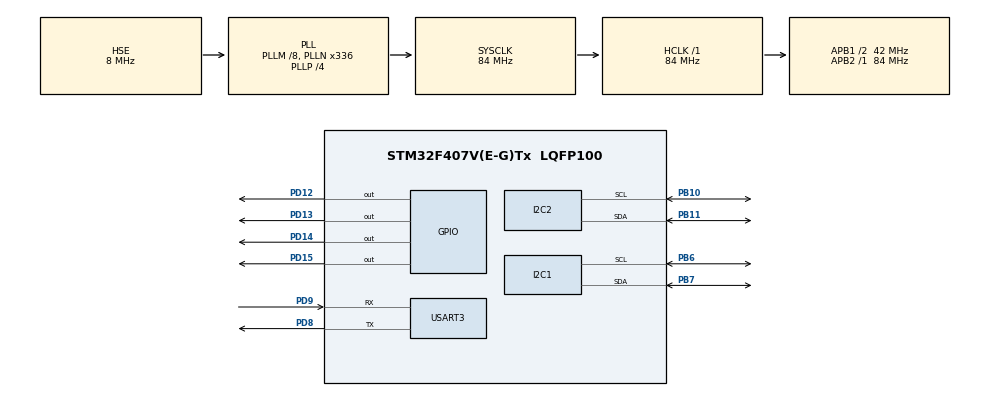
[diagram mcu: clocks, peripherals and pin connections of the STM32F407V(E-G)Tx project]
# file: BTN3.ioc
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Dma.I2C1_RX.3.Direction=DMA_PERIPH_TO_MEMORY
Dma.I2C1_RX.3.FIFOMode=DMA_FIFOMODE_DISABLE
Dma.I2C1_RX.3.Instance=DMA1_Stream0
Dma.I2C1_RX.3.MemDataAlignment=DMA_MDATAALIGN_BYTE
Dma.I2C1_RX.3.MemInc=DMA_MINC_ENABLE
Dma.I2C1_RX.3.Mode=DMA_NORMAL
Dma.I2C1_RX.3.PeriphDataAlignment=DMA_PDATAALIGN_BYTE
Dma.I2C1_RX.3.PeriphInc=DMA_PINC_DISABLE
Dma.I2C1_RX.3.Priority=DMA_PRIORITY_LOW
Dma.I2C1_TX.2.Direction=DMA_MEMORY_TO_PERIPH
Dma.I2C1_TX.2.FIFOMode=DMA_FIFOMODE_DISABLE
Dma.I2C1_TX.2.Instance=DMA1_Stream6
Dma.I2C1_TX.2.MemDataAlignment=DMA_MDATAALIGN_BYTE
Dma.I2C1_TX.2.MemInc=DMA_MINC_ENABLE
Dma.I2C1_TX.2.Mode=DMA_NORMAL
Dma.I2C1_TX.2.PeriphDataAlignment=DMA_PDATAALIGN_BYTE
Dma.I2C1_TX.2.PeriphInc=DMA_PINC_DISABLE
Dma.I2C1_TX.2.Priority=DMA_PRIORITY_LOW
Dma.I2C2_RX.5.Direction=DMA_PERIPH_TO_MEMORY
Dma.I2C2_RX.5.FIFOMode=DMA_FIFOMODE_DISABLE
Dma.I2C2_RX.5.Instance=DMA1_Stream2
Dma.I2C2_RX.5.MemDataAlignment=DMA_MDATAALIGN_BYTE
Dma.I2C2_RX.5.MemInc=DMA_MINC_ENABLE
Dma.I2C2_RX.5.Mode=DMA_NORMAL
Dma.I2C2_RX.5.PeriphDataAlignment=DMA_PDATAALIGN_BYTE
Dma.I2C2_RX.5.PeriphInc=DMA_PINC_DISABLE
Dma.I2C2_RX.5.Priority=DMA_PRIORITY_LOW
Dma.I2C2_TX.4.Direction=DMA_MEMORY_TO_PERIPH
Dma.I2C2_TX.4.FIFOMode=DMA_FIFOMODE_DISABLE
Dma.I2C2_TX.4.Instance=DMA1_Stream7
Dma.I2C2_TX.4.MemDataAlignment=DMA_MDATAALIGN_BYTE
Dma.I2C2_TX.4.MemInc=DMA_MINC_ENABLE
Dma.I2C2_TX.4.Mode=DMA_NORMAL
Dma.I2C2_TX.4.PeriphDataAlignment=DMA_PDATAALIGN_BYTE
Dma.I2C2_TX.4.PeriphInc=DMA_PINC_DISABLE
Dma.I2C2_TX.4.Priority=DMA_PRIORITY_LOW
Dma.Request0=USART3_TX
Dma.Request1=USART3_RX
Dma.Request2=I2C1_TX
Dma.Request3=I2C1_RX
Dma.Request4=I2C2_TX
Dma.Request5=I2C2_RX
Dma.USART3_RX.1.Direction=DMA_PERIPH_TO_MEMORY
Dma.USART3_RX.1.FIFOMode=DMA_FIFOMODE_DISABLE
Dma.USART3_RX.1.Instance=DMA1_Stream1
Dma.USART3_RX.1.MemDataAlignment=DMA_MDATAALIGN_BYTE
Dma.USART3_RX.1.MemInc=DMA_MINC_ENABLE
Dma.USART3_RX.1.Mode=DMA_NORMAL
Dma.USART3_RX.1.PeriphDataAlignment=DMA_PDATAALIGN_BYTE
Dma.USART3_RX.1.PeriphInc=DMA_PINC_DISABLE
Dma.USART3_RX.1.Priority=DMA_PRIORITY_LOW
Dma.USART3_TX.0.Direction=DMA_MEMORY_TO_PERIPH
Dma.USART3_TX.0.FIFOMode=DMA_FIFOMODE_DISABLE
Dma.USART3_TX.0.Instance=DMA1_Stream3
Dma.USART3_TX.0.MemDataAlignment=DMA_MDATAALIGN_BYTE
Dma.USART3_TX.0.MemInc=DMA_MINC_ENABLE
Dma.USART3_TX.0.Mode=DMA_NORMAL
Dma.USART3_TX.0.PeriphDataAlignment=DMA_PDATAALIGN_BYTE
Dma.USART3_TX.0.PeriphInc=DMA_PINC_DISABLE
Dma.USART3_TX.0.Priority=DMA_PRIORITY_LOW
I2C1.I2C_Mode=I2C_Fast
I2C2.I2C_Mode=I2C_Fast
Mcu.Family=STM32F4
Mcu.Name=STM32F407V(E-G)Tx
Mcu.Package=LQFP100
NVIC.DMA1_Stream0_IRQn=true\:0\:0\:false\:false\:true\:false\:true\:true
NVIC.DMA1_Stream1_IRQn=true\:0\:0\:true\:false\:true\:false\:true\:true
NVIC.DMA1_Stream2_IRQn=true\:0\:0\:false\:false\:true\:false\:true\:true
NVIC.DMA1_Stream3_IRQn=true\:0\:0\:true\:false\:true\:false\:true\:true
NVIC.DMA1_Stream6_IRQn=true\:0\:0\:false\:false\:true\:false\:true\:true
NVIC.DMA1_Stream7_IRQn=true\:0\:0\:false\:false\:true\:false\:true\:true
NVIC.I2C1_ER_IRQn=true\:0\:0\:false\:false\:true\:true\:true\:true
NVIC.I2C1_EV_IRQn=true\:0\:0\:false\:false\:true\:true\:true\:true
NVIC.I2C2_ER_IRQn=true\:0\:0\:false\:false\:true\:true\:true\:true
NVIC.I2C2_EV_IRQn=true\:0\:0\:false\:false\:true\:true\:true\:true
NVIC.PriorityGroup=NVIC_PRIORITYGROUP_4
NVIC.TIM2_IRQn=true\:0\:0\:false\:false\:true\:true\:true\:true
NVIC.USART3_IRQn=true\:0\:0\:false\:false\:true\:true\:true\:true
PA13.Mode=Serial_Wire
PA13.Signal=SYS_JTMS-SWDIO
PA14.Mode=Serial_Wire
PA14.Signal=SYS_JTCK-SWCLK
PB10.Mode=I2C
PB10.Signal=I2C2_SCL
PB11.Mode=I2C
PB11.Signal=I2C2_SDA
PB6.Mode=I2C
PB6.Signal=I2C1_SCL
PB7.Mode=I2C
PB7.Signal=I2C1_SDA
PD12.Signal=GPIO_Output
PD13.Signal=GPIO_Output
PD14.Signal=GPIO_Output
PD15.Signal=GPIO_Output
PD8.Mode=Asynchronous
PD8.Signal=USART3_TX
PD9.Mode=Asynchronous
PD9.Signal=USART3_RX
PH0-OSC_IN.Mode=HSE-External-Oscillator
PH0-OSC_IN.Signal=RCC_OSC_IN
PH1-OSC_OUT.Mode=HSE-External-Oscillator
PH1-OSC_OUT.Signal=RCC_OSC_OUT
ProjectManager.HeapSize=0x200
ProjectManager.StackSize=0x400
ProjectManager.TargetToolchain=STM32CubeIDE
RCC.48MHZClocksFreq_Value=84000000
RCC.AHBFreq_Value=84000000
RCC.APB1CLKDivider=RCC_HCLK_DIV2
RCC.APB1Freq_Value=42000000
RCC.APB1TimFreq_Value=84000000
RCC.APB2Freq_Value=84000000
RCC.APB2TimFreq_Value=84000000
RCC.CortexFreq_Value=84000000
RCC.HCLKFreq_Value=84000000
RCC.HSE_VALUE=8000000
RCC.HSI_VALUE=16000000
RCC.LSE_VALUE=32768
RCC.PLLM=8
RCC.PLLN=336
RCC.PLLP=RCC_PLLP_DIV4
RCC.PLLSourceVirtual=RCC_PLLSOURCE_HSE
RCC.SYSCLKFreq_VALUE=84000000
RCC.SYSCLKSource=RCC_SYSCLKSOURCE_PLLCLK
RCC.VCOOutputFreq_Value=336000000
TIM2.AutoReloadPreload=TIM_AUTORELOAD_PRELOAD_DISABLE
TIM2.Period=10000 - 1
TIM2.Prescaler=8400 - 1
USART3.VirtualMode=VM_ASYNC
VP_TIM2_VS_ClockSourceINT.Mode=Internal
board=custom

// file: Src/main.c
/* USER CODE BEGIN Header */
/**
 ******************************************************************************
 * @file           : main.c
 * @brief          : Main program body
 ******************************************************************************
 * @attention
 *
 * Copyright (c) 2023 STMicroelectronics.
 * All rights reserved.
 *
 * This software is licensed under terms that can be found in the LICENSE file
 * in the root directory of this software component.
 * If no LICENSE file comes with this software, it is provided AS-IS.
 *
 ******************************************************************************
 */
/* USER CODE END Header */
#include "main.h"

/* USER CODE BEGIN Includes */
#include "EEPROM.h"
#include "mpu6050.h"
#include "string.h"
#include <math.h>
/* USER CODE END Includes */

/* USER CODE BEGIN PTD */
MPU6050_t MPU6050;
/* USER CODE END PTD */

/* USER CODE BEGIN PD */
#define EEPROM_ADDR 0xA0
#define MPU6050_ADDR 0xD0
/* USER CODE END PD */

I2C_HandleTypeDef hi2c1;
I2C_HandleTypeDef hi2c2;
DMA_HandleTypeDef hdma_i2c1_tx;
DMA_HandleTypeDef hdma_i2c1_rx;
DMA_HandleTypeDef hdma_i2c2_tx;
DMA_HandleTypeDef hdma_i2c2_rx;

TIM_HandleTypeDef htim2;

UART_HandleTypeDef huart3;
DMA_HandleTypeDef hdma_usart3_tx;
DMA_HandleTypeDef hdma_usart3_rx;

void SystemClock_Config(void);
static void MX_GPIO_Init(void);
static void MX_DMA_Init(void);
static void MX_I2C1_Init(void);
static void MX_I2C2_Init(void);
static void MX_USART3_UART_Init(void);
static void MX_TIM2_Init(void);
/* USER CODE BEGIN PFP */
void MPU6050_Init();
void UintToStr3(uint16_t u, uint8_t *y);
void Cal_uart_size(uint8_t* As_data, uint16_t* Bi_data,uint8_t n);
void AsciiToBinary(uint8_t *Ascii, uint8_t *Binary);
/* USER CODE END PFP */

/* USER CODE BEGIN 0 */
//i2c
//uint8_t dataRead[100];
//uint8_t dataWrite[100] = {0x41, 0x30, 0x46,0x46, 00, 00,0xC0,84, 75};/
uint8_t tk = 0;
uint8_t i2c_write_flag = 0;
uint8_t i2c_read_flag = 0;
uint8_t i2c2_read_flag = 0;
//uart
uint8_t Rx_Data[100] = "";
uint8_t Tx_Data[100] = {'A','0','F','F', '0'};//A0 FF 46 00 XXXX
uint8_t uart_tx_flag = 0;
uint8_t uart_rx_flag = 0;
uint16_t Uart_Rx_Size = 0;
uint16_t page = 0;
uint8_t tim2_it_flag = 0;
char buffer[50];
//mpu6050
//double Ax;
//double Ay;
//double Az;
//double Gx;
//double Gy;
//double Gz;
double roll;
double pitch;

/* USER CODE END 0 */

int main(void)
{

  /* MCU Configuration--------------------------------------------------------*/

  /* Reset of all peripherals, Initializes the Flash interface and the Systick. */
  HAL_Init();

  /* Configure the system clock */
  SystemClock_Config();

  /* Initialize all configured peripherals */
  MX_GPIO_Init();
  MX_DMA_Init();
  MX_I2C1_Init();
  MX_I2C2_Init();
  MX_USART3_UART_Init();
  MX_TIM2_Init();
  /* USER CODE BEGIN 2 */
//  for (int i = 0; i < 100; i++){
//	  dataWrite[i] = i+32;
//  }
	MPU6050_Init();
	HAL_TIM_Base_Start_IT(&htim2);
	//HAL_UART_Receive_DMA(&huart3, Rx_Data, 6);
	HAL_UARTEx_ReceiveToIdle_DMA(&huart3, Rx_Data, sizeof Rx_Data);
	__HAL_DMA_DISABLE_IT(&hdma_usart3_rx, DMA_IT_HT);
	//sscanf(&tk1,"%x",&tk2);
	//HAL_UART_Transmit_DMA(&huart3, Tx_Data, 20);
//  HAL_I2C_Mem_Write(&hi2c1, 0xA0, (3<<6), 2, dataWrite, 70, 1000);
//  HAL_Delay(5);
//  HAL_I2C_Mem_Write(&hi2c1, 0xA0, (2<<6), 2, dataWrite, 64, 1000);
//  HAL_Delay(1000);
//  HAL_I2C_Mem_Read(&hi2c1, 0xA0, (2<<6), 2, dataRead, 64, 1000);
//  HAL_Delay(1000);
//  HAL_UART_Transmit_DMA(&huart3, Tx_Data, sizeof(Tx_Data));
//  HAL_Delay(1000);
//	for(int i=0; i<511; i++){
//		EEPROM_PageErase(i);
//	}
	//HAL_I2C_Mem_Write_DMA(&hi2c1, 0xA0, (0<<6), 2, dataWrite, 64);
	//HAL_I2C_Mem_Read_DMA(&hi2c1, 0xA0, (0 << 6), 2, dataRead, 100);
	//HAL_UART_Receive_DMA(&huart3, Rx_Data, sizeof(Rx_Data));
	//HAL_I2C_Mem_Read(&hi2c1, 0xA0, (3<<6), 2, dataRead, 64, 1000);
	//EEPROM_Write(3, 0, dataWrite, 70);
	//EEPROM_Read(3, 0, dataRead, 70);
	//HAL_UART_Transmit_DMA(&huart3, dataRead, sizeof(dataRead));
  /* USER CODE END 2 */

  /* Infinite loop */
  /* USER CODE BEGIN WHILE */
	while (1) {
		if (HAL_I2C_IsDeviceReady(&hi2c2, MPU6050_ADDR, 1, 100) == HAL_OK) {
			HAL_GPIO_WritePin(GPIOD, GPIO_PIN_13, SET);

			//tk = 193;
		}
		else{
			HAL_GPIO_WritePin(GPIOD, GPIO_PIN_13, RESET);
		}

		if (HAL_I2C_IsDeviceReady(&hi2c1, EEPROM_ADDR, 1, 100) == HAL_OK) {
			//HAL_GPIO_TogglePin(GPIOD, GPIO_PIN_14|GPIO_PIN_15);
			HAL_GPIO_WritePin(GPIOD, GPIO_PIN_14,SET);
			//tk = 252;
		}
		else{
			HAL_GPIO_WritePin(GPIOD, GPIO_PIN_14, RESET);
		}
//		//Test
//		if (page < 511)
//			page++;
//		else
//			page = 0;
//		HAL_I2C_Mem_Read_DMA(&hi2c1, 0xA0, (page << 6), 2, Rx_Data, 64);
//		HAL_Delay(1000);
//		//End Test

		//Code BTL
		MPU6050_Read_All(&MPU6050);
		//HAL_UART_Transmit_DMA(&huart3, dataWrite, sizeof dataWrite);
//		HAL_UART_Receive_DMA(&huart3, Rx_Data, sizeof Rx_Data);
//		HAL_Delay(1000);
		//HAL_GPIO_TogglePin(GPIOD, GPIO_PIN_15);
		//HAL_Delay(1000);
		if(tim2_it_flag){

			tim2_it_flag = 0;
			roll = MPU6050.KalmanAngleX;
			pitch = MPU6050.KalmanAngleY;
			if (i2c2_read_flag){
			i2c2_read_flag = 0;

			//sprintf(buffer, "%.2f\r\n",roll);
			snprintf(buffer, sizeof(buffer),"%06.2f, %06.2f\r\n",roll,pitch);//abc.de,xyz.mn\r\n
			HAL_UART_Transmit_DMA(&huart3,(uint8_t*) buffer, sizeof(buffer));
			while (uart_tx_flag == 0);
			uart_tx_flag = 0;
		}
//		if (tim2_it_flag) {
//			tim2_it_flag = 0;
//		MPU6050_Read_Gyro(&MPU6050);
//		MPU6050_Read_Accel(&MPU6050);
			//MPU6050_Read_All(&MPU6050);
		}

//		Ax = MPU6050.Ax;
//		Ay = MPU6050.Ay;
//		Az = MPU6050.Az;
//		Gx = MPU6050.Gx;
//		Gy = MPU6050.Gy;
//		Gz = MPU6050.Gz;
//		roll = MPU6050.KalmanAngleX;
//		pitch = MPU6050.KalmanAngleY;
		//HAL_I2C_Mem_Read_DMA(&hi2c1, 0xA0, (1<<6), 2, dataRead, 64);
		if (uart_rx_flag) {
			uart_rx_flag = 0;

			//HAL_GPIO_TogglePin(GPIOD, GPIO_PIN_13);
//			uint8_t mode;
//			uint8_t tk2[4];
//			for(int i=0; i<4; i++){
//				tk2[i] = Rx_Data[8+i];
//			}
//			sscanf(&tk2,"%x",&page);
//			Cal_uart_size(&Rx_Data[6],&mode,2);

			switch (Rx_Data[3]) {
			case 0:		//Read page
				page = (Rx_Data[4] << 8) | ((Rx_Data[5] & 0xC0));

				//memset(dataRead, 0, sizeof(dataRead));
//				uint8_t Tx_Data_2[4] = {'A','0','F','F'};
//				for(int i=0; i<4; i++){
//					Tx_Data[i] = Tx_Data_2[i];
//				}
				Tx_Data[5] = '0';
				HAL_I2C_Mem_Read_DMA(&hi2c1, EEPROM_ADDR, page, 2, &Tx_Data[6], 64);
//				Tx_Data[2] = 0x46;
//				for(int i=3; i<=5; i++){
//					Tx_Data[i] = Rx_Data[i];
//				}
				break;
			case 1:		//Read address
				//memset(dataRead, 0, sizeof(dataRead));
				Tx_Data[5] = '1';
				HAL_I2C_Mem_Read_DMA(&hi2c1, EEPROM_ADDR, (Rx_Data[4] << 8) | (Rx_Data[5]), 2, &Tx_Data[6], 1);
//				Tx_Data[2] = 0x06;
//				for(int i=3; i<=5; i++){
//					Tx_Data[i] = Rx_Data[i];
//				}
				break;
			case 2:		//Write page
				page = (Rx_Data[4] << 8) | ((Rx_Data[5] & 0xC0));
				HAL_I2C_Mem_Write_DMA(&hi2c1, EEPROM_ADDR, page, 2, &Rx_Data[6], Uart_Rx_Size - 6);
				break;
			case 3:		//Write address
				HAL_I2C_Mem_Write_DMA(&hi2c1, EEPROM_ADDR, (Rx_Data[4] << 8) | (Rx_Data[5]), 2, &Rx_Data[6], 1);
				break;

			default:
				// default statements
				;
			}
//			if (Rx_Data[3] == 0) {
//				page = (Rx_Data[4] << 8) | ((Rx_Data[5] & 0xC0));
//				memset(dataRead, 0, sizeof(dataRead));
//				HAL_I2C_Mem_Read_DMA(&hi2c1, EEPROM_ADDR, page, 2, dataRead, 64);
//
//			} else if (Rx_Data[3] == 1) {		//Read
//				memset(dataRead, 0, sizeof(dataRead));
//				HAL_I2C_Mem_Read_DMA(&hi2c1, EEPROM_ADDR,
//						(Rx_Data[4] << 8) | (Rx_Data[5]), 2, dataRead, 1);
//			}

			//HAL_UART_Receive_DMA(&huart3, Rx_Data, 6);
			HAL_UARTEx_ReceiveToIdle_DMA(&huart3, Rx_Data, sizeof Rx_Data);
			__HAL_DMA_DISABLE_IT(&hdma_usart3_rx, DMA_IT_HT);
		}
		if (i2c_write_flag) {
			i2c_write_flag = 0;
//			HAL_UART_Transmit_DMA(&huart3, dataWrite, sizeof(dataWrite));
//			while (uart_tx_flag == 0)
//				;
			//uart_tx_flag = 0;
			//HAL_I2C_Mem_Read_DMA(&hi2c1, 0xA0, (page << 6), 2, dataRead, 64);
//			if (page < 511)
//				page++;
//			else
//				page = 0;
//			UintToStr3(page, &dataWrite[17]);

			//HAL_I2C_Mem_Write_DMA(&hi2c1, 0xA0, (page << 6), 2, dataWrite, 64);
		}
		if (i2c_read_flag) {
			i2c_read_flag = 0;
//			for(int i=0; i<64; i++){
//				Tx_Data[i]
//			}
			switch (Tx_Data[5]) {
			case '0':		//Read page
				Tx_Data[70] = '!';
				HAL_UART_Transmit_DMA(&huart3, Tx_Data, 6+64+1);
				break;
			case '1':		//Read address
				Tx_Data[7] = '!';
				HAL_UART_Transmit_DMA(&huart3, Tx_Data, 6+1+1);
				break;
			default:
				;
			}
			//HAL_UART_Transmit_DMA(&huart3, Tx_Data, 4+64);
			while (uart_tx_flag == 0)
				;
			uart_tx_flag = 0;

			//End Code BTL
//			if (page < 511)
			//page++;
//			else
//				page = 0;
			//HAL_I2C_Mem_Write_DMA(&hi2c1, 0xA0, (page << 6), 2, dataWrite, 64);
//		}
    /* USER CODE END WHILE */

	}
}

void SystemClock_Config(void)
{
  RCC_OscInitTypeDef RCC_OscInitStruct = {0};
  RCC_ClkInitTypeDef RCC_ClkInitStruct = {0};

  /** Configure the main internal regulator output voltage
  */
  __HAL_RCC_PWR_CLK_ENABLE();
  __HAL_PWR_VOLTAGESCALING_CONFIG(PWR_REGULATOR_VOLTAGE_SCALE1);

  /** Initializes the RCC Oscillators according to the specified parameters
  * in the RCC_OscInitTypeDef structure.
  */
  RCC_OscInitStruct.OscillatorType = RCC_OSCILLATORTYPE_HSE;
  RCC_OscInitStruct.HSEState = RCC_HSE_ON;
  RCC_OscInitStruct.PLL.PLLState = RCC_PLL_ON;
  RCC_OscInitStruct.PLL.PLLSource = RCC_PLLSOURCE_HSE;
  RCC_OscInitStruct.PLL.PLLM = 8;
  RCC_OscInitStruct.PLL.PLLN = 336;
  RCC_OscInitStruct.PLL.PLLP = RCC_PLLP_DIV4;
  RCC_OscInitStruct.PLL.PLLQ = 4;
  if (HAL_RCC_OscConfig(&RCC_OscInitStruct) != HAL_OK)
  {
    Error_Handler();
  }

  /** Initializes the CPU, AHB and APB buses clocks
  */
  RCC_ClkInitStruct.ClockType = RCC_CLOCKTYPE_HCLK|RCC_CLOCKTYPE_SYSCLK
                              |RCC_CLOCKTYPE_PCLK1|RCC_CLOCKTYPE_PCLK2;
  RCC_ClkInitStruct.SYSCLKSource = RCC_SYSCLKSOURCE_PLLCLK;
  RCC_ClkInitStruct.AHBCLKDivider = RCC_SYSCLK_DIV1;
  RCC_ClkInitStruct.APB1CLKDivider = RCC_HCLK_DIV2;
  RCC_ClkInitStruct.APB2CLKDivider = RCC_HCLK_DIV1;

  if (HAL_RCC_ClockConfig(&RCC_ClkInitStruct, FLASH_LATENCY_2) != HAL_OK)
  {
    Error_Handler();
  }
}

static void MX_I2C1_Init(void)
{

  hi2c1.Instance = I2C1;
  hi2c1.Init.ClockSpeed = 400000;
  hi2c1.Init.DutyCycle = I2C_DUTYCYCLE_2;
  hi2c1.Init.OwnAddress1 = 0;
  hi2c1.Init.AddressingMode = I2C_ADDRESSINGMODE_7BIT;
  hi2c1.Init.DualAddressMode = I2C_DUALADDRESS_DISABLE;
  hi2c1.Init.OwnAddress2 = 0;
  hi2c1.Init.GeneralCallMode = I2C_GENERALCALL_DISABLE;
  hi2c1.Init.NoStretchMode = I2C_NOSTRETCH_DISABLE;
  if (HAL_I2C_Init(&hi2c1) != HAL_OK)
  {
    Error_Handler();
  }

}

static void MX_I2C2_Init(void)
{

  hi2c2.Instance = I2C2;
  hi2c2.Init.ClockSpeed = 400000;
  hi2c2.Init.DutyCycle = I2C_DUTYCYCLE_2;
  hi2c2.Init.OwnAddress1 = 0;
  hi2c2.Init.AddressingMode = I2C_ADDRESSINGMODE_7BIT;
  hi2c2.Init.DualAddressMode = I2C_DUALADDRESS_DISABLE;
  hi2c2.Init.OwnAddress2 = 0;
  hi2c2.Init.GeneralCallMode = I2C_GENERALCALL_DISABLE;
  hi2c2.Init.NoStretchMode = I2C_NOSTRETCH_DISABLE;
  if (HAL_I2C_Init(&hi2c2) != HAL_OK)
  {
    Error_Handler();
  }

}

static void MX_TIM2_Init(void)
{

  TIM_ClockConfigTypeDef sClockSourceConfig = {0};
  TIM_MasterConfigTypeDef sMasterConfig = {0};

  htim2.Instance = TIM2;
  htim2.Init.Prescaler = 8400 - 1;
  htim2.Init.CounterMode = TIM_COUNTERMODE_UP;
  htim2.Init.Period = 10000 - 1;
  htim2.Init.ClockDivision = TIM_CLOCKDIVISION_DIV1;
  htim2.Init.AutoReloadPreload = TIM_AUTORELOAD_PRELOAD_DISABLE;
  if (HAL_TIM_Base_Init(&htim2) != HAL_OK)
  {
    Error_Handler();
  }
  sClockSourceConfig.ClockSource = TIM_CLOCKSOURCE_INTERNAL;
  if (HAL_TIM_ConfigClockSource(&htim2, &sClockSourceConfig) != HAL_OK)
  {
    Error_Handler();
  }
  sMasterConfig.MasterOutputTrigger = TIM_TRGO_RESET;
  sMasterConfig.MasterSlaveMode = TIM_MASTERSLAVEMODE_DISABLE;
  if (HAL_TIMEx_MasterConfigSynchronization(&htim2, &sMasterConfig) != HAL_OK)
  {
    Error_Handler();
  }

}

static void MX_USART3_UART_Init(void)
{

  huart3.Instance = USART3;
  huart3.Init.BaudRate = 115200;
  huart3.Init.WordLength = UART_WORDLENGTH_8B;
  huart3.Init.StopBits = UART_STOPBITS_1;
  huart3.Init.Parity = UART_PARITY_NONE;
  huart3.Init.Mode = UART_MODE_TX_RX;
  huart3.Init.HwFlowCtl = UART_HWCONTROL_NONE;
  huart3.Init.OverSampling = UART_OVERSAMPLING_16;
  if (HAL_UART_Init(&huart3) != HAL_OK)
  {
    Error_Handler();
  }

}

static void MX_DMA_Init(void)
{

  /* DMA controller clock enable */
  __HAL_RCC_DMA1_CLK_ENABLE();

  /* DMA interrupt init */
  /* DMA1_Stream0_IRQn interrupt configuration */
  HAL_NVIC_SetPriority(DMA1_Stream0_IRQn, 0, 0);
  HAL_NVIC_EnableIRQ(DMA1_Stream0_IRQn);
  /* DMA1_Stream1_IRQn interrupt configuration */
  HAL_NVIC_SetPriority(DMA1_Stream1_IRQn, 0, 0);
  HAL_NVIC_EnableIRQ(DMA1_Stream1_IRQn);
  /* DMA1_Stream2_IRQn interrupt configuration */
  HAL_NVIC_SetPriority(DMA1_Stream2_IRQn, 0, 0);
  HAL_NVIC_EnableIRQ(DMA1_Stream2_IRQn);
  /* DMA1_Stream3_IRQn interrupt configuration */
  HAL_NVIC_SetPriority(DMA1_Stream3_IRQn, 0, 0);
  HAL_NVIC_EnableIRQ(DMA1_Stream3_IRQn);
  /* DMA1_Stream6_IRQn interrupt configuration */
  HAL_NVIC_SetPriority(DMA1_Stream6_IRQn, 0, 0);
  HAL_NVIC_EnableIRQ(DMA1_Stream6_IRQn);
  /* DMA1_Stream7_IRQn interrupt configuration */
  HAL_NVIC_SetPriority(DMA1_Stream7_IRQn, 0, 0);
  HAL_NVIC_EnableIRQ(DMA1_Stream7_IRQn);

}

static void MX_GPIO_Init(void)
{
  GPIO_InitTypeDef GPIO_InitStruct = {0};

  /* GPIO Ports Clock Enable */
  __HAL_RCC_GPIOH_CLK_ENABLE();
  __HAL_RCC_GPIOB_CLK_ENABLE();
  __HAL_RCC_GPIOD_CLK_ENABLE();
  __HAL_RCC_GPIOA_CLK_ENABLE();

  /*Configure GPIO pin Output Level */
  HAL_GPIO_WritePin(GPIOD, GPIO_PIN_12|GPIO_PIN_13|GPIO_PIN_14|GPIO_PIN_15, GPIO_PIN_RESET);

  /*Configure GPIO pins : PD12 PD13 PD14 PD15 */
  GPIO_InitStruct.Pin = GPIO_PIN_12|GPIO_PIN_13|GPIO_PIN_14|GPIO_PIN_15;
  GPIO_InitStruct.Mode = GPIO_MODE_OUTPUT_PP;
  GPIO_InitStruct.Pull = GPIO_NOPULL;
  GPIO_InitStruct.Speed = GPIO_SPEED_FREQ_LOW;
  HAL_GPIO_Init(GPIOD, &GPIO_InitStruct);

}

/* USER CODE BEGIN 4 */
void HAL_I2C_MemTxCpltCallback(I2C_HandleTypeDef *hi2c) {
	if (hi2c == &hi2c1) {
		tk++;
		HAL_GPIO_TogglePin(GPIOD, GPIO_PIN_12);
		i2c_write_flag = 1;

//		if(HAL_I2C_GetState(&hi2c1) == HAL_I2C_STATE_READY){
//			HAL_GPIO_TogglePin(GPIOD, GPIO_PIN_14);
//		}
		//HAL_I2C_Mem_Read_DMA(&hi2c1, 0xA0, (1<<6), 2, dataRead, 64);
	}

}

void HAL_I2C_MemRxCpltCallback(I2C_HandleTypeDef *hi2c) {
	if (hi2c == &hi2c1) {
		tk--;
		HAL_GPIO_TogglePin(GPIOD, GPIO_PIN_13);
		i2c_read_flag = 1;
		//HAL_UART_Transmit_DMA(&huart3, dataRead, sizeof(dataRead));
	}
	if (hi2c == &hi2c2) {
		i2c2_read_flag = 1;
	}
}

void HAL_UART_TxCpltCallback(UART_HandleTypeDef *huart) {
	uart_tx_flag = 1;
	tk = 100;

	//HAL_I2C_Mem_Write_DMA(&hi2c1, 0xA0, (1<<6), 2, dataWrite, 64);

}
//Normal DMA
void HAL_UART_RxCpltCallback(UART_HandleTypeDef *huart) {
//	uart_rx_flag = 1;
//	tk = 100;
//	HAL_GPIO_TogglePin(GPIOD, GPIO_PIN_15);
}
// IDLE Line DMA
void HAL_UARTEx_RxEventCallback(UART_HandleTypeDef *huart, uint16_t Size) {
	if (huart == &huart3) {
		//Cal_uart_size(&Rx_Data[4],&Uart_Rx_Size,2);
		//;
		Uart_Rx_Size = Size/2;
		uint8_t Rx_Data_temp[100];
		for(int i=0; i<Uart_Rx_Size; i++){
			AsciiToBinary(&Rx_Data[2*i], &Rx_Data_temp[i]);
//			0 0
//			2 1
//			4 2
		}
		memset(Rx_Data, 0, sizeof(Rx_Data));
		for(int i=0; i<Uart_Rx_Size; i++){
			Rx_Data[i] = Rx_Data_temp[i];
		}

		//AsciiToBinary(Rx_Data, Rx_Data);
//		sscanf(&tk1,"%x",&tk2);
//		uint8_t tk1[20];
//		uint16_t tk2 = 0xA0FF;
//		for(int i=0; i<4; i++){
//			tk1[i] = Rx_Data[i];
//		}
//		sscanf(&tk1,"%x",&tk2);
		if ((Rx_Data[0] == 0xA0) && (Rx_Data[1] == 0xFF)
				&& (Rx_Data[2] == Uart_Rx_Size)){
//		if((tk2 == 0xA0FF) && (Uart_Rx_Size == Size)){
			uart_rx_flag = 1; //Frame is correct
			HAL_GPIO_TogglePin(GPIOD, GPIO_PIN_14);
		}
		else { //Frame is incorrect
			HAL_UARTEx_ReceiveToIdle_DMA(&huart3, Rx_Data, sizeof Rx_Data);
			__HAL_DMA_DISABLE_IT(&hdma_usart3_rx, DMA_IT_HT);
		}

	}
}
//Timer interrupt
void HAL_TIM_PeriodElapsedCallback(TIM_HandleTypeDef *htim) {
	tim2_it_flag = 1;
	//HAL_GPIO_TogglePin(GPIOD, GPIO_PIN_12);
}

void UintToStr3(uint16_t u, uint8_t *y) {

	//y[5] = '\r';
	y[2] = u % 10 + 0x30;
	u = u / 10;
	y[1] = u % 10 + 0x30;
	u = u / 10;
	y[0] = u % 10 + 0x30;
}

void Cal_uart_size(uint8_t* As_data, uint16_t* Bi_data, uint8_t n){
	*Bi_data = *As_data - 0x30;
	for(int i=0; i<n-1; i++){
		*Bi_data*=10;
		*Bi_data += (*(As_data+i+1) - 0x30);
	}
}

void AsciiToBinary(uint8_t *Ascii, uint8_t *Binary){
	uint8_t Data[2];
	Data[0] = *Ascii;
	Data[1] = *(Ascii+1);
	sscanf(Data,"%x",Binary);
}
//void hexToASCII(const char *hex, char *ascii, size_t maxAsciiLength)
//{
//    // Loop through the hex string
//    for (size_t i = 0; hex[i] != '\0' && i < maxAsciiLength * 2; i += 2)
//    {
//        // Extract two characters from hex string
//        char part[3] = {hex[i], hex[i + 1], '\0'};
//
//        // Convert it into base 16 and typecast as a character
//        char ch = strtol(part, NULL, 16);
//
//        // Add this character to the final ASCII string
//        *ascii++ = ch;
//    }
//    // Null-terminate the ASCII string
//    *ascii = '\0';
//}
/* USER CODE END 4 */

void Error_Handler(void)
{
	__disable_irq();
	while (1) {
	}
}
